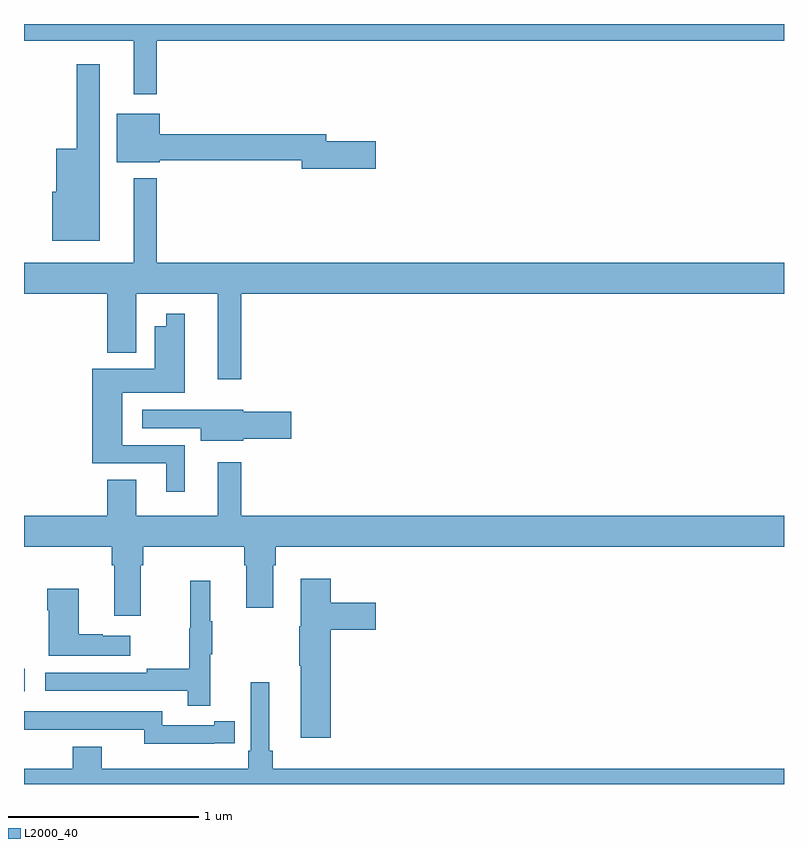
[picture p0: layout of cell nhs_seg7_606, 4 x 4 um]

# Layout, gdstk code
import gdstk
lib = gdstk.Library(unit=1e-6, precision=1e-09)
def R(c, l, rs):  # rectangles x0, y0, x1, y1
    for r in rs: c.add(gdstk.rectangle(r[:2], r[2:], *l))
def P(c, l, *ps):  # polygons
    for p in ps: c.add(gdstk.Polygon(p, *l))
L2000_40 = (2000, 40)

nhs_seg7_606 = lib.new_cell('nhs_seg7_606')
R(nhs_seg7_606, L2000_40, [(157,1034.487,157.003,1034.607)])
P(nhs_seg7_606, L2000_40, [(157.699,1037.912),(161,1037.912),(161,1038),(157,1038),(157,1037.912),(157.577,1037.912),(157.577,1037.631),(157.699,1037.631)],
  [(157.399,1037.788),(157.278,1037.788),(157.278,1037.344),(157.169,1037.344),(157.169,1037.118),(157.148,1037.118),(157.148,1036.859),(157.399,1036.859)],
  [(158.851,1037.384),(158.59,1037.384),(158.59,1037.42),(157.714,1037.42),(157.714,1037.527),(157.487,1037.527),(157.487,1037.273),(157.714,1037.273),(157.714,1037.284),(158.462,1037.284),(158.462,1037.237),(158.851,1037.237)],
  [(158.143,1036.58),(161,1036.58),(161,1036.744),(157.699,1036.744),(157.699,1037.188),(157.577,1037.188),(157.577,1036.744),(157,1036.744),(157,1036.58),(157.439,1036.58),(157.439,1036.271),(157.591,1036.271),(157.591,1036.58),(158.021,1036.58),(158.021,1036.131),(158.143,1036.131)],
  [(157.846,1035.783),(157.516,1035.783),(157.516,1036.058),(157.845,1036.058),(157.845,1036.474),(157.748,1036.474),(157.748,1036.408),(157.688,1036.408),(157.688,1036.186),(157.358,1036.186),(157.358,1035.687),(157.748,1035.687),(157.748,1035.537),(157.846,1035.537)],
  [(158.154,1035.817),(158.407,1035.817),(158.407,1035.959),(158.154,1035.959),(158.154,1035.97),(157.935,1035.97),(157.935,1035.969),(157.623,1035.969),(157.623,1035.873),(157.931,1035.873),(157.931,1035.806),(158.154,1035.806)],
  [(157.615,1035.152),(157.628,1035.152),(157.628,1035.248),(158.159,1035.248),(158.159,1035.152),(158.171,1035.152),(158.171,1034.928),(158.311,1034.928),(158.311,1035.152),(158.324,1035.152),(158.324,1035.248),(161,1035.248),(161,1035.412),(158.143,1035.412),(158.143,1035.694),(158.021,1035.694),(158.021,1035.412),(157.591,1035.412),(157.591,1035.602),(157.439,1035.602),(157.439,1035.412),(157,1035.412),(157,1035.248),(157.463,1035.248),(157.463,1035.152),(157.475,1035.152),(157.475,1034.886),(157.615,1034.886)],
  [(158.615,1034.813),(158.851,1034.813),(158.851,1034.955),(158.615,1034.955),(158.615,1035.079),(158.456,1035.079),(158.456,1034.829),(158.449,1034.829),(158.449,1034.623),(158.456,1034.623),(158.456,1034.244),(158.615,1034.244)],
  [(157.979,1034.683),(157.99,1034.683),(157.99,1034.857),(157.979,1034.857),(157.979,1035.07),(157.876,1035.07),(157.876,1034.82),(157.869,1034.82),(157.869,1034.606),(157.645,1034.606),(157.645,1034.586),(157.113,1034.586),(157.113,1034.49),(157.861,1034.49),(157.861,1034.412),(157.979,1034.412)],
  [(157.558,1034.779),(157.415,1034.779),(157.415,1034.789),(157.288,1034.789),(157.288,1035.028),(157.123,1035.028),(157.123,1034.915),(157.13,1034.915),(157.13,1034.675),(157.558,1034.675)],
  [(161,1034.08),(158.309,1034.08),(158.309,1034.176),(158.29,1034.176),(158.29,1034.536),(158.193,1034.536),(158.193,1034.176),(158.18,1034.176),(158.18,1034.08),(157.408,1034.08),(157.408,1034.197),(157.256,1034.197),(157.256,1034.08),(157,1034.08),(157,1034),(161,1034)],
  [(158,1034.214),(158.108,1034.214),(158.108,1034.33),(158,1034.33),(158,1034.31),(157.728,1034.31),(157.728,1034.382),(157,1034.382),(157,1034.285),(157.172,1034.285),(157.172,1034.286),(157.632,1034.286),(157.632,1034.213),(158,1034.213)])

lib.write_gds('nhs_seg7_606.gds')
